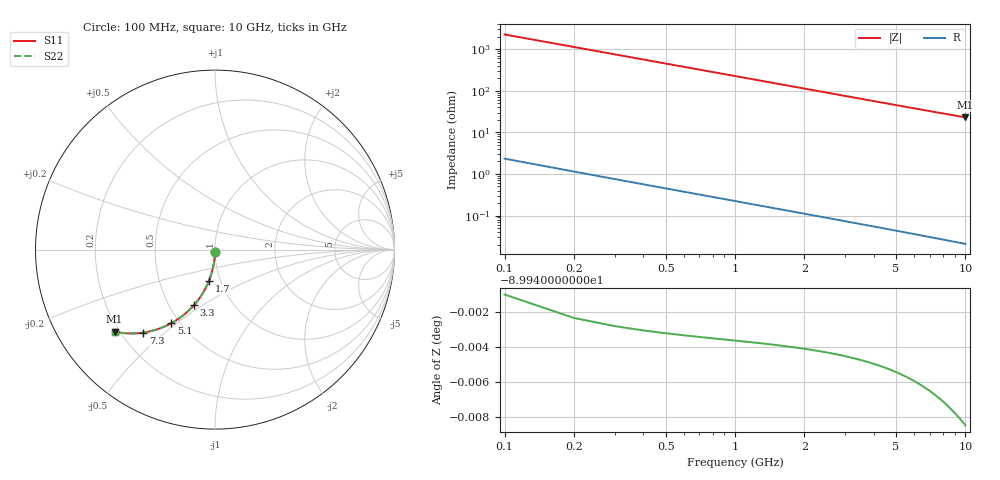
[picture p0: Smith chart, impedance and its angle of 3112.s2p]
# Hz S RI R 50.00
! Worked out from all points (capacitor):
!   100 points, 100 MHz to 10 GHz, reference 50 ohm
!   read as one part in shunt: C = 701 fF near 100 MHz
!   lowest |Z| = 23.1 ohm at 10 GHz (marker M1)
!   S11 on the Smith chart (normalised r, x): 100 MHz: 1.00, -0.02; 1.7 GHz: 0.88, -0.32; 3.3 GHz: 0.66, -0.46; 5.1 GHz: 0.45, -0.48; 7.3 GHz: 0.29, -0.43; 10 GHz: 0.18, -0.35
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1e8  -6.29e-05 -0.0106  0.9998 -0.0114  0.9998 -0.0114  -6.29e-05 -0.0106
2e8  -0.000436 -0.0213  0.9994 -0.0227  0.9994 -0.0227  -0.000436 -0.0213
3e8  -0.00105 -0.0319  0.9988 -0.0341  0.9988 -0.0341  -0.00105 -0.0319
4e8  -0.00191 -0.0425  0.9979 -0.0454  0.9979 -0.0454  -0.00191 -0.0425
5e8  -0.003 -0.0531  0.9968 -0.0567  0.9968 -0.0567  -0.003 -0.0531
6e8  -0.00434 -0.0636  0.9955 -0.068  0.9955 -0.068  -0.00434 -0.0636
8e8  -0.00771 -0.0845  0.9921 -0.0903  0.9921 -0.0903  -0.00771 -0.0845
9e8  -0.00975 -0.0949  0.9901 -0.1015  0.9901 -0.1015  -0.00975 -0.0949
1.1e9  -0.0145 -0.1155  0.9853 -0.1235  0.9853 -0.1235  -0.0145 -0.1155
1.4e9  -0.0233 -0.1457  0.9765 -0.1558  0.9765 -0.1558  -0.0233 -0.1457
1.7e9  -0.034 -0.175  0.9657 -0.1873  0.9657 -0.1873  -0.034 -0.175
1.8e9  -0.038 -0.1845  0.9617 -0.1976  0.9617 -0.1976  -0.038 -0.1845
2.1e9  -0.0511 -0.2123  0.9486 -0.2276  0.9486 -0.2276  -0.0511 -0.2123
2.5e9  -0.071 -0.2475  0.9287 -0.2657  0.9287 -0.2657  -0.071 -0.2475
3.3e9  -0.1178 -0.3101  0.8817 -0.3343  0.8817 -0.3343  -0.1178 -0.3101
3.4e9  -0.1242 -0.3172  0.8753 -0.3421  0.8753 -0.3421  -0.1242 -0.3172
4.2e9  -0.1785 -0.3673  0.8209 -0.3981  0.8209 -0.3981  -0.1785 -0.3673
5.1e9  -0.2434 -0.4101  0.7557 -0.4477  0.7557 -0.4477  -0.2434 -0.4101
6.7e9  -0.3589 -0.4545  0.6397 -0.5043  0.6397 -0.5043  -0.3589 -0.4545
7.3e9  -0.4 -0.4623  0.5983 -0.5168  0.5983 -0.5168  -0.4 -0.4623
8.4e9  -0.4704 -0.4671  0.5275 -0.5302  0.5275 -0.5302  -0.4704 -0.4671
1e10  -0.5594 -0.4578  0.4375 -0.5337  0.4375 -0.5337  -0.5594 -0.4578
